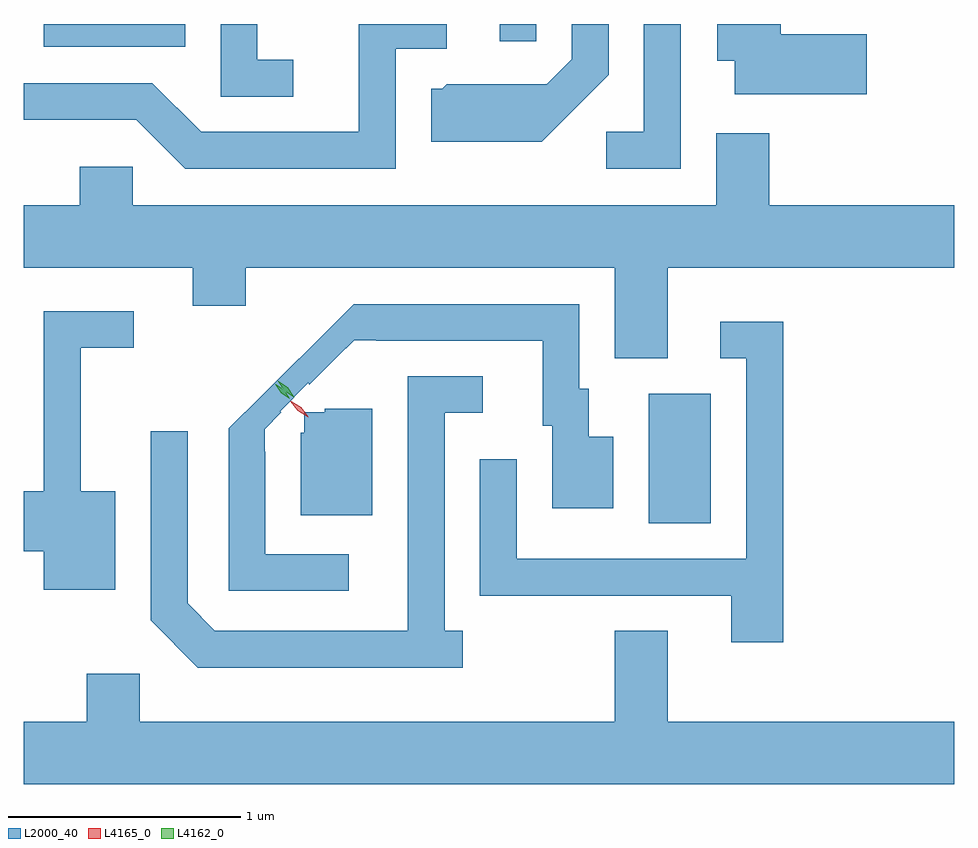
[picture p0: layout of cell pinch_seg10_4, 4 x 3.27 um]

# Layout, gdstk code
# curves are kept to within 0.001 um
import gdstk
lib = gdstk.Library(unit=1e-6, precision=1e-09)
def R(c, l, rs):  # rectangles x0, y0, x1, y1
    for r in rs: c.add(gdstk.rectangle(r[:2], r[2:], *l))
def P(c, l, *ps):  # polygons
    for p in ps: c.add(gdstk.Polygon(p, *l))
L2000_40 = (2000, 40)
L4162_0 = (4162, 0)
L4165_0 = (4165, 0)

pinch_seg10_4 = lib.new_cell('pinch_seg10_4')
R(pinch_seg10_4, L2000_40, [(849.106,2190.516,849.374,2191.074), (846.506,2192.566,847.114,2192.663), (848.466,2192.588,848.624,2192.663)])
P(pinch_seg10_4, L2000_40, [(848.934,2192.444),(848.934,2192.663),(848.776,2192.663),(848.776,2192.512),(848.669,2192.404),(848.239,2192.404),(848.219,2192.384),(848.171,2192.384),(848.171,2192.156),(848.647,2192.156)],
  [(848.019,2192.556),(848.239,2192.556),(848.239,2192.663),(847.862,2192.663),(847.861,2192.199),(847.182,2192.199),(846.972,2192.409),(846.42,2192.409),(846.42,2192.251),(846.904,2192.251),(847.114,2192.041),(848.019,2192.041)],
  [(847.578,2192.509),(847.424,2192.509),(847.424,2192.663),(847.266,2192.663),(847.266,2192.351),(847.578,2192.351)],
  [(850.044,2192.619),(849.674,2192.619),(849.674,2192.663),(849.401,2192.663),(849.401,2192.506),(849.476,2192.506),(849.476,2192.361),(850.044,2192.361)],
  [(849.244,2192.663),(849.086,2192.663),(849.086,2192.199),(848.923,2192.199),(848.923,2192.041),(849.244,2192.041)],
  [(849.189,2191.616),(850.42,2191.616),(850.42,2191.884),(849.624,2191.884),(849.624,2192.194),(849.396,2192.194),(849.396,2191.884),(846.889,2191.884),(846.889,2192.049),(846.661,2192.049),(846.661,2191.884),(846.42,2191.884),(846.42,2191.616),(847.146,2191.616),(847.146,2191.451),(847.374,2191.451),(847.374,2191.616),(848.961,2191.616),(848.961,2191.226),(849.189,2191.226)],
  [(847.818,2190.384),(847.459,2190.384),(847.459,2190.824),(847.455,2190.824),(847.455,2190.921),(847.527,2190.993),(847.522,2190.999),(847.642,2191.12),(847.648,2191.113),(847.841,2191.304),(847.936,2191.304),(847.936,2191.301),(848.651,2191.301),(848.651,2190.936),(848.691,2190.936),(848.691,2190.581),(848.954,2190.581),(848.954,2190.889),(848.849,2190.889),(848.849,2191.094),(848.809,2191.094),(848.809,2191.459),(847.839,2191.459),(847.373,2190.994),(847.371,2190.995),(847.301,2190.925),(847.301,2190.226),(847.818,2190.226)],
  [(846.814,2190.654),(846.664,2190.654),(846.664,2191.271),(846.893,2191.271),(846.893,2191.429),(846.506,2191.429),(846.506,2190.654),(846.42,2190.654),(846.42,2190.396),(846.506,2190.396),(846.506,2190.231),(846.814,2190.231)],
  [(849.684,2191.384),(849.413,2191.384),(849.413,2191.226),(849.526,2191.226),(849.526,2190.364),(848.539,2190.364),(848.539,2190.793),(848.381,2190.793),(848.381,2190.206),(849.461,2190.206),(849.461,2190.006),(849.684,2190.006)],
  [(848.308,2190.054),(848.229,2190.054),(848.229,2190.991),(848.393,2190.991),(848.393,2191.149),(848.071,2191.149),(848.071,2190.054),(847.242,2190.054),(847.124,2190.172),(847.124,2190.913),(846.966,2190.913),(846.966,2190.099),(847.169,2189.896),(848.308,2189.896)],
  [(847.919,2191.009),(847.715,2191.009),(847.715,2190.993),(847.625,2190.993),(847.625,2190.905),(847.611,2190.905),(847.611,2190.551),(847.919,2190.551)],
  [(850.42,2189.664),(849.189,2189.664),(849.189,2190.054),(848.961,2190.054),(848.961,2189.664),(846.919,2189.664),(846.919,2189.869),(846.691,2189.869),(846.691,2189.664),(846.42,2189.664),(846.42,2189.396),(850.42,2189.396)])
P(pinch_seg10_4, L4162_0, [(847.581,2191.059),(847.54,2191.087),(847.512,2191.129),(847.512,2191.13),(847.512,2191.13),(847.554,2191.102),(847.582,2191.059),(847.582,2191.059)],
  [(847.563,2191.052),(847.526,2191.076),(847.502,2191.114),(847.502,2191.114),(847.503,2191.114),(847.54,2191.09),(847.564,2191.053),(847.564,2191.052)])
P(pinch_seg10_4, L4165_0, [(847.643,2190.972),(847.598,2191),(847.566,2191.042),(847.566,2191.042),(847.567,2191.042),(847.612,2191.015),(847.644,2190.973),(847.644,2190.972)],
  [(847.641,2190.974),(847.599,2191),(847.57,2191.04),(847.57,2191.041),(847.571,2191.041),(847.613,2191.015),(847.642,2190.975),(847.642,2190.974)])

lib.write_gds('pinch_seg10_4.gds')
